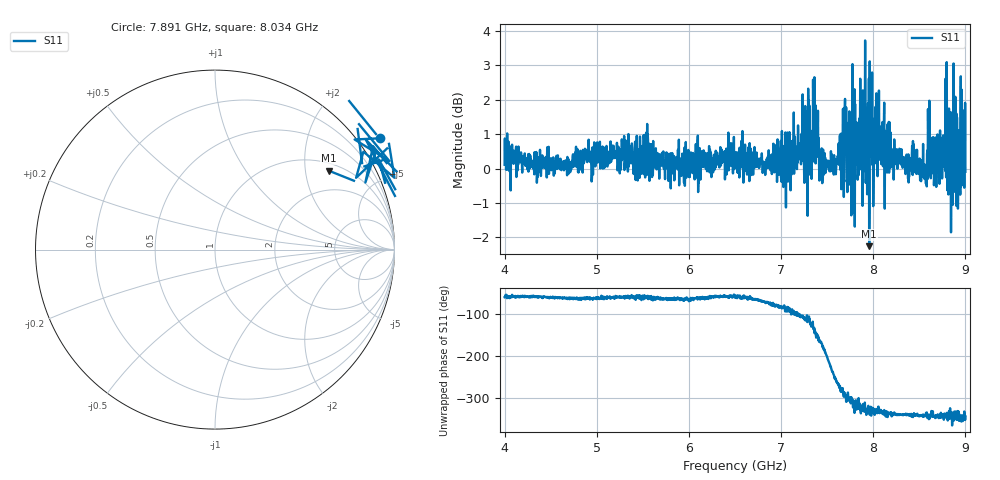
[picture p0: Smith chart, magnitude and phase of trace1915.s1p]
! Created with skrf 1.8.0 (http://scikit-rf.org).
# Hz S RI R 50.0
!freq ReS11 ImS11
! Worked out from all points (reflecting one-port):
!   1601 points, 4 GHz to 9 GHz, reference 50 ohm
!   lowest |S11| = -2.3 dB at 7.956 GHz (marker M1), VSWR 7.75, Z = 61.9 + j134 ohm
!   phase of S11 starts at -60 deg and turns -285 deg over the sweep
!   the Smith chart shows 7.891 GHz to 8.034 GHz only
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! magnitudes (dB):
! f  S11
! 4 GHz  0.1
! 4.625 GHz  0.0
! 5.016 GHz  0.7
! 5.25 GHz  -0.1
! 5.875 GHz  0.1
! 6.5 GHz  0.3
! 7.031 GHz  -0.1
! 7.125 GHz  0.4
! 7.209 GHz  0.6
! 7.266 GHz  -0.1
! 7.362 GHz  2.6
! 7.438 GHz  0.0
! 7.584 GHz  -0.2
! 7.684 GHz  0.2
! 7.75 GHz  -0.4
! 7.775 GHz  3.0
! 7.8 GHz  -1.7
! 7.891 GHz  0.9
! 7.956 GHz  -2.3
! 8.05 GHz  1.4
! 8.375 GHz  0.1
! 8.725 GHz  1.1
! 8.784 GHz  2.6
! 8.838 GHz  0.8
! 8.884 GHz  2.0
! 8.919 GHz  -1.2
! 8.972 GHz  0.6
! 9 GHz  -0.1
